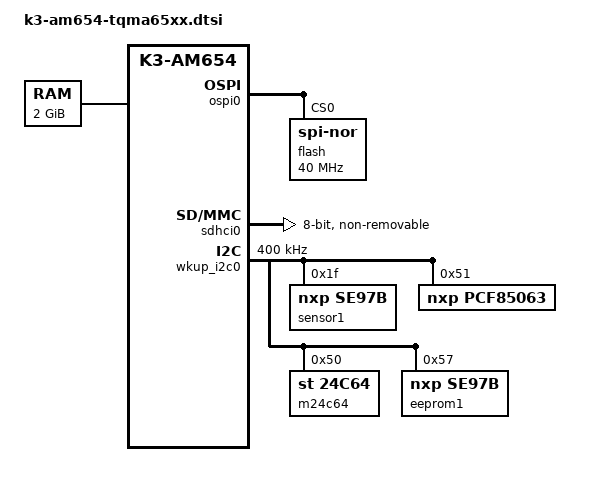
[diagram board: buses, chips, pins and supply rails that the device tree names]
// SPDX-License-Identifier: GPL-2.0
/*
 * Copyright (C) 2016-2018 Texas Instruments Incorporated - http://www.ti.com/
 * Copyright (C) 2020-2022 TQ-Systems GmbH
 * Author: Matthias Schiffer <matthias.schiffer@ew.tq-group.com>
 */

#include "k3-am654.dtsi"

/ {
	memory@80000000 {
		device_type = "memory";
		/* 2G RAM - default configuration */
		reg = <0x00000000 0x80000000 0x00000000 0x80000000>;
	};

	reserved_memory: reserved-memory {
		#address-cells = <2>;
		#size-cells = <2>;
		ranges;

		secure_ddr: secure_ddr@9e800000 {
			reg = <0 0x9e800000 0 0x01800000>; /* for OP-TEE */
			alignment = <0x1000>;
			no-map;
		};

		mcu_r5fss0_core0_dma_memory_region: r5f-dma-memory@a0000000 {
			compatible = "shared-dma-pool";
			reg = <0 0xa0000000 0 0x100000>;
			no-map;
		};

		mcu_r5fss0_core0_memory_region: r5f-memory@a0100000 {
			compatible = "shared-dma-pool";
			reg = <0 0xa0100000 0 0xf00000>;
			no-map;
		};

		mcu_r5fss0_core1_dma_memory_region: r5f-dma-memory@a1000000 {
			compatible = "shared-dma-pool";
			reg = <0 0xa1000000 0 0x100000>;
			no-map;
		};

		mcu_r5fss0_core1_memory_region: r5f-memory@a1100000 {
			compatible = "shared-dma-pool";
			reg = <0 0xa1100000 0 0xf00000>;
			no-map;
		};

		rtos_ipc_memory_region: ipc-memories@a2000000 {
			reg = <0x00 0xa2000000 0x00 0x00200000>;
			alignment = <0x1000>;
			no-map;
		};
	};
};

&mailbox0_cluster0 {
	interrupts = <436>;
	status = "okay";

	mbox_mcu_r5fss0_core0: mbox-mcu-r5fss0-core0 {
		ti,mbox-tx = <1 0 0>;
		ti,mbox-rx = <0 0 0>;
	};
};

&mailbox0_cluster1 {
	interrupts = <432>;
	status = "okay";

	mbox_mcu_r5fss0_core1: mbox-mcu-r5fss0-core1 {
		ti,mbox-tx = <1 0 0>;
		ti,mbox-rx = <0 0 0>;
	};
};

&mcu_r5fss0_core0 {
	memory-region = <&mcu_r5fss0_core0_dma_memory_region>,
			<&mcu_r5fss0_core0_memory_region>;
	mboxes = <&mailbox0_cluster0 &mbox_mcu_r5fss0_core0>;
};

&mcu_r5fss0_core1 {
	memory-region = <&mcu_r5fss0_core1_dma_memory_region>,
			<&mcu_r5fss0_core1_memory_region>;
	mboxes = <&mailbox0_cluster1 &mbox_mcu_r5fss0_core1>;
};

&ospi0 {
	pinctrl-names = "default";
	pinctrl-0 = <&nor_flash_pins_default>;
	status = "okay";

	flash@0 {
		compatible = "jedec,spi-nor";
		reg = <0x0>;
		spi-tx-bus-width = <1>;
		spi-rx-bus-width = <4>;
		spi-max-frequency = <40000000>;
		cdns,tshsl-ns = <60>;
		cdns,tsd2d-ns = <60>;
		cdns,tchsh-ns = <60>;
		cdns,tslch-ns = <60>;
		cdns,read-delay = <2>;

		partitions {
			compatible = "fixed-partitions";
			#address-cells = <1>;
			#size-cells = <1>;

			/* Filled by bootloader */
		};
	};
};

&sdhci0 {
	broken-cd;
	pinctrl-names = "default";
	pinctrl-0 = <&main_mmc0_pins_default>;
	bus-width = <8>;
	non-removable;
	no-sd;
	no-sdio;
	ti,driver-strength-ohm = <50>;
	disable-wp;
	status = "okay";
};

&wkup_i2c0 {
	pinctrl-names = "default";
	pinctrl-0 = <&wkup_i2c0_pins_default>;
	clock-frequency = <400000>;
	status = "okay";

	/* NXP SE97BTP with temperature sensor + eeprom */
	sensor1: temperature-sensor@1f {
		compatible = "nxp,se97b", "jedec,jc-42.4-temp";
		reg = <0x1f>;
	};

	pcf85063: rtc@51 {
		compatible = "nxp,pcf85063";
		reg = <0x51>;
	};

	m24c64: eeprom@50 {
		compatible = "st,24c64", "atmel,24c64";
		reg = <0x50>;
		pagesize = <32>;
	};

	/* NXP SE97BTP with temperature sensor + eeprom */
	eeprom1: eeprom@57 {
		compatible = "nxp,se97b", "atmel,24c02";
		reg = <0x57>;
		pagesize = <16>;
		read-only;
	};
};

&wkup_uart0 {
	/* Wakeup UART is used by System firmware */
	status = "reserved";
};

&main_pmx0 {
	main_mmc0_pins_default: main_mmc0_pins_default {
		pinctrl-single,pins = <
			/* (B25) MMC0_CLK */
			AM65X_IOPAD(0x01a8, PIN_INPUT_PULLDOWN, 0)
			/* (B27) MMC0_CMD */
			AM65X_IOPAD(0x01ac, PIN_INPUT_PULLUP, 0)
			/* (A26) MMC0_DAT0 */
			AM65X_IOPAD(0x01a4, PIN_INPUT_PULLUP, 0)
			/* (E25) MMC0_DAT1 */
			AM65X_IOPAD(0x01a0, PIN_INPUT_PULLUP, 0)
			/* (C26) MMC0_DAT2 */
			AM65X_IOPAD(0x019c, PIN_INPUT_PULLUP, 0)
			/* (A25) MMC0_DAT3 */
			AM65X_IOPAD(0x0198, PIN_INPUT_PULLUP, 0)
			/* (E24) MMC0_DAT4 */
			AM65X_IOPAD(0x0194, PIN_INPUT_PULLUP, 0)
			/* (A24) MMC0_DAT5 */
			AM65X_IOPAD(0x0190, PIN_INPUT_PULLUP, 0)
			/* (B26) MMC0_DAT6 */
			AM65X_IOPAD(0x018c, PIN_INPUT_PULLUP, 0)
			/* (D25) MMC0_DAT7 */
			AM65X_IOPAD(0x0188, PIN_INPUT_PULLUP, 0)
			/* (A23) MMC0_SDCD */
			AM65X_IOPAD(0x01b4, PIN_INPUT_PULLDOWN, 0)
			/* (C25) MMC0_DS */
			AM65X_IOPAD(0x01b0, PIN_INPUT, 0)
		>;
	};
};

&wkup_pmx0 {
	nor_flash_pins_default: nor_flash_pins_default {
		pinctrl-single,pins = <
			/* (V1) MCU_OSPI0_CLK */
			AM65X_WKUP_IOPAD(0x0000, PIN_OUTPUT, 0)
			/* (R4) MCU_OSPI0_CSn0 */
			AM65X_WKUP_IOPAD(0x002c, PIN_OUTPUT, 0)
			/* (U4) MCU_OSPI0_D0 */
			AM65X_WKUP_IOPAD(0x000c, PIN_INPUT, 0)
			/* (U5) MCU_OSPI0_D1 */
			AM65X_WKUP_IOPAD(0x0010, PIN_INPUT, 0)
			/* (T2) MCU_OSPI0_D2 */
			AM65X_WKUP_IOPAD(0x0014, PIN_INPUT, 0)
			/* (T3) MCU_OSPI0_D3 */
			AM65X_WKUP_IOPAD(0x0018, PIN_INPUT, 0)
			/* (T4) MCU_OSPI0_D4 */
			AM65X_WKUP_IOPAD(0x001c, PIN_INPUT, 0)
			/* (T5) MCU_OSPI0_D5 */
			AM65X_WKUP_IOPAD(0x0020, PIN_INPUT, 0)
			/* (R2) MCU_OSPI0_D6 */
			AM65X_WKUP_IOPAD(0x0024, PIN_INPUT, 0)
			/* (R3) MCU_OSPI0_D7 */
			AM65X_WKUP_IOPAD(0x0028, PIN_INPUT, 0)
			/* (U2) MCU_OSPI0_DQS */
			AM65X_WKUP_IOPAD(0x0008, PIN_INPUT, 0)
		>;
	};

	wkup_i2c0_pins_default: wkup-i2c0-pins-default {
		pinctrl-single,pins = <
			/* (AC7) WKUP_I2C0_SCL */
			AM65X_WKUP_IOPAD(0x00e0, PIN_INPUT, 0)
			/* (AD6) WKUP_I2C0_SDA */
			AM65X_WKUP_IOPAD(0x00e4, PIN_INPUT, 0)
		>;
	};
};
